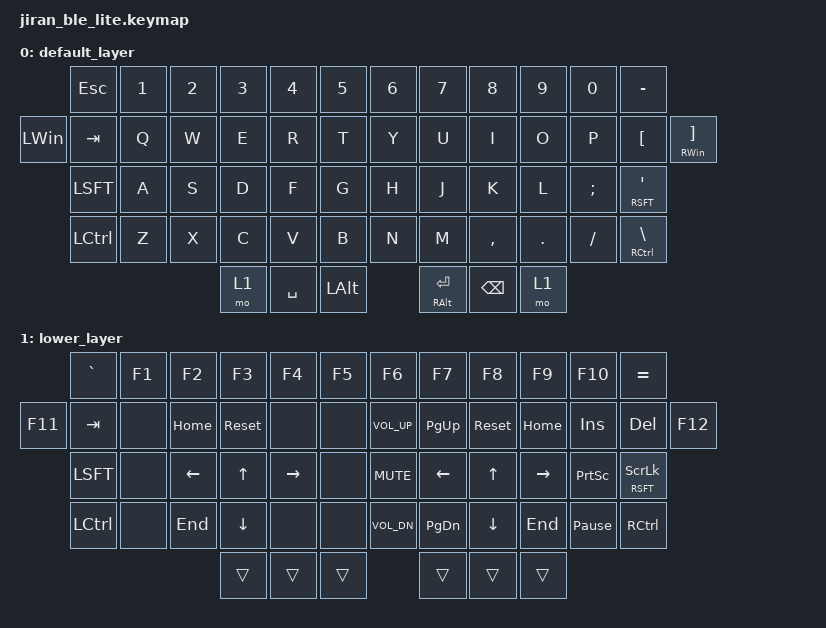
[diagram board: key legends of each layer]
/*
 * Copyright (c) 2021 The ZMK Contributors
 *
 * SPDX-License-Identifier: MIT
 */

#include <behaviors.dtsi>
#include <dt-bindings/zmk/keys.h>
#include <dt-bindings/zmk/bt.h>

/ {
        keymap {
                compatible = "zmk,keymap";

                default_layer {
// -----------------------------------------------------------------------------------------
// |  TAB |  Q  |  W  |  E  |  R  |  T  |   |  Y  |  U   |  I  |  O  |  P  | BKSP |
// | CTRL |  A  |  S  |  D  |  F  |  G  |   |  H  |  J   |  K  |  L  |  ;  |  '   |
// | SHFT |  Z  |  X  |  C  |  V  |  B  |   |  N  |  M   |  ,  |  .  |  /  | SHFT |
//                    | GUI | LWR | SPC |   | ENT | RSE  | ALT |
                        bindings = <
           &kp ESC  &kp N1 &kp N2 &kp N3 &kp N4 &kp N5    &kp N6 &kp N7  &kp N8   &kp N9  &kp N0   &kp MINUS
  &kp LWIN &kp TAB  &kp Q  &kp W  &kp E  &kp R  &kp T     &kp Y  &kp U   &kp I    &kp O   &kp P    &kp LBKT      &mt RWIN RBKT
           &kp LSFT &kp A  &kp S  &kp D  &kp F  &kp G     &kp H  &kp J   &kp K    &kp L   &kp SCLN &mt RSFT SQT
           &kp LCTL &kp Z  &kp X  &kp C  &kp V  &kp B     &kp N  &kp M   &kp CMMA &kp DOT &kp FSLH &mt RCTL BSLH
                                 &mo 1 &kp SPC  &kp LALT &mt RALT RET &kp BSPC &mo 1
                        >;
                };
                lower_layer {
// -----------------------------------------------------------------------------------------
// |  ESC |  1  |  2  |  3  |  4  |  5  |   |  6  |  7  |  8  |  9  |  0  | BKSP |
// | BTCLR| BT1 | BT2 | BT3 | BT4 | BT5 |   | LFT | DWN |  UP | RGT |     |      |
// | SHFT |     |     |     |     |     |   |     |     |     |     |     |      |
//                    | GUI |     | SPC |   | ENT |     | ALT |
                       bindings = <
          &kp GRAVE &kp F1 &kp F2   &kp F3     &kp F4    &kp F5      &kp F6       &kp F7    &kp F8     &kp F9    &kp F10         &kp EQUAL
 &kp F11  &kp TAB   &none  &kp HOME &sys_reset &none     &none       &kp C_VOL_UP &kp PG_UP &sys_reset &kp HOME  &kp INS         &kp DEL       &kp F12
          &kp LSFT  &none  &kp LEFT &kp UP     &kp RIGHT &none       &kp C_MUTE   &kp LEFT  &kp UP     &kp RIGHT &kp PSCRN       &mt RSFT SLCK
          &kp LCTL  &none  &kp END  &kp DOWN   &none     &none       &kp C_VOL_DN &kp PG_DN &kp DOWN   &kp END   &kp PAUSE_BREAK &kp RCTL
                                           &trans &trans  &trans    &trans &trans &trans
                       >;
               };
        };
};
